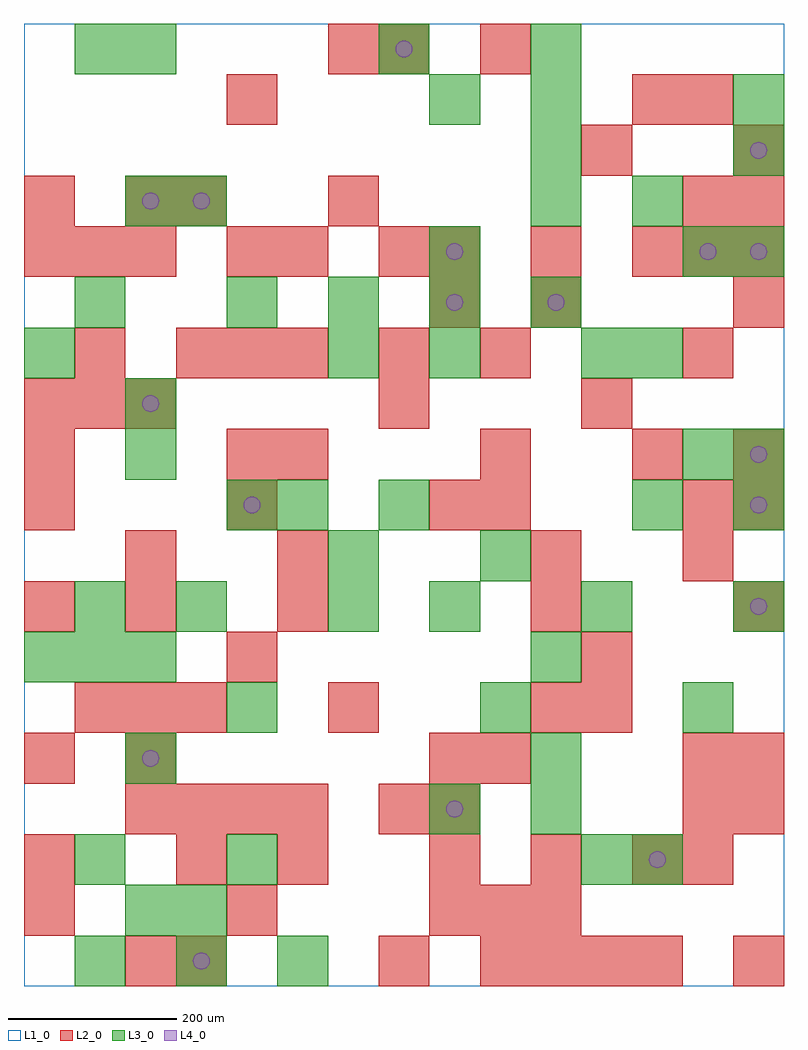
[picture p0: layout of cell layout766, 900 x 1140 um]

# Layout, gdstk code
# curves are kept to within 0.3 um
import gdstk
lib = gdstk.Library(unit=1e-6, precision=1e-09)
def R(c, l, rs):  # rectangles x0, y0, x1, y1
    for r in rs: c.add(gdstk.rectangle(r[:2], r[2:], *l))
def A(c, l, x, y, w, h, nx, ny, dx, dy):  # array of equal rectangles
    R(c, l, [(x+i*dx, y+j*dy, x+i*dx+w, y+j*dy+h) for i in range(nx) for j in range(ny)])
def P(c, l, *ps):  # polygons
    for p in ps: c.add(gdstk.Polygon(p, *l))
L1_0 = (1, 0)
L2_0 = (2, 0)
L3_0 = (3, 0)
L4_0 = (4, 0)

layout766 = lib.new_cell('layout766')
R(layout766, L1_0, [(0,0,900,1140)])
A(layout766, L2_0, 540, 0, 60, 60, 4, 1, 60, 0)
A(layout766, L2_0, 0, 60, 60, 60, 3, 2, 240, 480)
A(layout766, L2_0, 480, 120, 60, 60, 3, 2, 120, 720)
A(layout766, L2_0, 780, 120, 60, 60, 1, 3, 0, 60)
A(layout766, L2_0, 120, 180, 60, 60, 4, 1, 60, 0)
A(layout766, L2_0, 0, 240, 60, 60, 1, 3, 0, 180)
A(layout766, L2_0, 60, 300, 60, 60, 3, 1, 60, 0)
A(layout766, L2_0, 240, 360, 60, 60, 1, 3, 0, 240)
A(layout766, L2_0, 660, 360, 60, 60, 1, 3, 0, 300)
A(layout766, L2_0, 0, 660, 60, 60, 3, 2, 60, 180)
A(layout766, L2_0, 180, 720, 60, 60, 3, 1, 60, 0)
A(layout766, L2_0, 840, 780, 60, 60, 1, 4, 0, 60)
R(layout766, L2_0, [(120,0,180,60), (180,0,240,60), (420,0,480,60), (840,0,900,60), (540,60,600,120), (600,60,660,120), (0,120,60,180), (180,120,240,180), (300,120,360,180), (420,180,480,240), (480,180,540,240), (840,180,900,240), (120,240,180,300), (480,240,540,300), (540,240,600,300), (840,240,900,300), (360,300,420,360), (600,300,660,360), (660,300,720,360), (120,420,180,480), (300,420,360,480), (600,420,660,480), (840,420,900,480), (120,480,180,540), (300,480,360,540), (600,480,660,540), (780,480,840,540), (540,540,600,600), (780,540,840,600), (840,540,900,600), (300,600,360,660), (540,600,600,660), (720,600,780,660), (840,600,900,660), (420,660,480,720), (60,720,120,780), (420,720,480,780), (540,720,600,780), (780,720,840,780), (480,780,540,840), (600,780,660,840), (300,840,360,900), (420,840,480,900), (780,840,840,900), (0,900,60,960), (120,900,180,960), (180,900,240,960), (360,900,420,960), (780,900,840,960), (240,1020,300,1080), (720,1020,780,1080), (780,1020,840,1080), (360,1080,420,1140), (420,1080,480,1140), (540,1080,600,1140)])
A(layout766, L3_0, 60, 0, 60, 60, 3, 1, 120, 0)
A(layout766, L3_0, 0, 360, 60, 60, 3, 1, 60, 0)
A(layout766, L3_0, 480, 420, 60, 60, 3, 1, 180, 0)
A(layout766, L3_0, 720, 540, 60, 60, 1, 3, 0, 180)
A(layout766, L3_0, 240, 780, 60, 60, 4, 1, 120, 0)
A(layout766, L3_0, 600, 900, 60, 60, 1, 4, 0, 60)
R(layout766, L3_0, [(120,60,180,120), (180,60,240,120), (60,120,120,180), (240,120,300,180), (660,120,720,180), (720,120,780,180), (480,180,540,240), (600,180,660,240), (120,240,180,300), (600,240,660,300), (240,300,300,360), (540,300,600,360), (780,300,840,360), (600,360,660,420), (60,420,120,480), (180,420,240,480), (360,420,420,480), (360,480,420,540), (540,480,600,540), (240,540,300,600), (300,540,360,600), (420,540,480,600), (840,540,900,600), (120,600,180,660), (780,600,840,660), (840,600,900,660), (120,660,180,720), (0,720,60,780), (360,720,420,780), (480,720,540,780), (660,720,720,780), (60,780,120,840), (480,840,540,900), (780,840,840,900), (840,840,900,900), (120,900,180,960), (180,900,240,960), (840,960,900,1020), (480,1020,540,1080), (840,1020,900,1080), (60,1080,120,1140), (120,1080,180,1140), (420,1080,480,1140)])
P(layout766, L4_0, [(160,270),(159.239,273.827),(157.071,277.071),(153.827,279.239),(150,280),(146.173,279.239),(142.929,277.071),(140.761,273.827),(140,270),(140.761,266.173),(142.929,262.929),(146.173,260.761),(150,260),(153.827,260.761),(157.071,262.929),(159.239,266.173)],
  [(160,690),(159.239,693.827),(157.071,697.071),(153.827,699.239),(150,700),(146.173,699.239),(142.929,697.071),(140.761,693.827),(140,690),(140.761,686.173),(142.929,682.929),(146.173,680.761),(150,680),(153.827,680.761),(157.071,682.929),(159.239,686.173)],
  [(160,930),(159.239,933.827),(157.071,937.071),(153.827,939.239),(150,940),(146.173,939.239),(142.929,937.071),(140.761,933.827),(140,930),(140.761,926.173),(142.929,922.929),(146.173,920.761),(150,920),(153.827,920.761),(157.071,922.929),(159.239,926.173)],
  [(220,30),(219.239,33.827),(217.071,37.071),(213.827,39.239),(210,40),(206.173,39.239),(202.929,37.071),(200.761,33.827),(200,30),(200.761,26.173),(202.929,22.929),(206.173,20.761),(210,20),(213.827,20.761),(217.071,22.929),(219.239,26.173)],
  [(220,930),(219.239,933.827),(217.071,937.071),(213.827,939.239),(210,940),(206.173,939.239),(202.929,937.071),(200.761,933.827),(200,930),(200.761,926.173),(202.929,922.929),(206.173,920.761),(210,920),(213.827,920.761),(217.071,922.929),(219.239,926.173)],
  [(280,570),(279.239,573.827),(277.071,577.071),(273.827,579.239),(270,580),(266.173,579.239),(262.929,577.071),(260.761,573.827),(260,570),(260.761,566.173),(262.929,562.929),(266.173,560.761),(270,560),(273.827,560.761),(277.071,562.929),(279.239,566.173)],
  [(460,1110),(459.239,1113.827),(457.071,1117.071),(453.827,1119.239),(450,1120),(446.173,1119.239),(442.929,1117.071),(440.761,1113.827),(440,1110),(440.761,1106.173),(442.929,1102.929),(446.173,1100.761),(450,1100),(453.827,1100.761),(457.071,1102.929),(459.239,1106.173)],
  [(520,210),(519.239,213.827),(517.071,217.071),(513.827,219.239),(510,220),(506.173,219.239),(502.929,217.071),(500.761,213.827),(500,210),(500.761,206.173),(502.929,202.929),(506.173,200.761),(510,200),(513.827,200.761),(517.071,202.929),(519.239,206.173)],
  [(520,810),(519.239,813.827),(517.071,817.071),(513.827,819.239),(510,820),(506.173,819.239),(502.929,817.071),(500.761,813.827),(500,810),(500.761,806.173),(502.929,802.929),(506.173,800.761),(510,800),(513.827,800.761),(517.071,802.929),(519.239,806.173)],
  [(520,870),(519.239,873.827),(517.071,877.071),(513.827,879.239),(510,880),(506.173,879.239),(502.929,877.071),(500.761,873.827),(500,870),(500.761,866.173),(502.929,862.929),(506.173,860.761),(510,860),(513.827,860.761),(517.071,862.929),(519.239,866.173)],
  [(640,810),(639.239,813.827),(637.071,817.071),(633.827,819.239),(630,820),(626.173,819.239),(622.929,817.071),(620.761,813.827),(620,810),(620.761,806.173),(622.929,802.929),(626.173,800.761),(630,800),(633.827,800.761),(637.071,802.929),(639.239,806.173)],
  [(760,150),(759.239,153.827),(757.071,157.071),(753.827,159.239),(750,160),(746.173,159.239),(742.929,157.071),(740.761,153.827),(740,150),(740.761,146.173),(742.929,142.929),(746.173,140.761),(750,140),(753.827,140.761),(757.071,142.929),(759.239,146.173)],
  [(820,870),(819.239,873.827),(817.071,877.071),(813.827,879.239),(810,880),(806.173,879.239),(802.929,877.071),(800.761,873.827),(800,870),(800.761,866.173),(802.929,862.929),(806.173,860.761),(810,860),(813.827,860.761),(817.071,862.929),(819.239,866.173)],
  [(880,450),(879.239,453.827),(877.071,457.071),(873.827,459.239),(870,460),(866.173,459.239),(862.929,457.071),(860.761,453.827),(860,450),(860.761,446.173),(862.929,442.929),(866.173,440.761),(870,440),(873.827,440.761),(877.071,442.929),(879.239,446.173)],
  [(880,570),(879.239,573.827),(877.071,577.071),(873.827,579.239),(870,580),(866.173,579.239),(862.929,577.071),(860.761,573.827),(860,570),(860.761,566.173),(862.929,562.929),(866.173,560.761),(870,560),(873.827,560.761),(877.071,562.929),(879.239,566.173)],
  [(880,630),(879.239,633.827),(877.071,637.071),(873.827,639.239),(870,640),(866.173,639.239),(862.929,637.071),(860.761,633.827),(860,630),(860.761,626.173),(862.929,622.929),(866.173,620.761),(870,620),(873.827,620.761),(877.071,622.929),(879.239,626.173)],
  [(880,870),(879.239,873.827),(877.071,877.071),(873.827,879.239),(870,880),(866.173,879.239),(862.929,877.071),(860.761,873.827),(860,870),(860.761,866.173),(862.929,862.929),(866.173,860.761),(870,860),(873.827,860.761),(877.071,862.929),(879.239,866.173)],
  [(880,990),(879.239,993.827),(877.071,997.071),(873.827,999.239),(870,1000),(866.173,999.239),(862.929,997.071),(860.761,993.827),(860,990),(860.761,986.173),(862.929,982.929),(866.173,980.761),(870,980),(873.827,980.761),(877.071,982.929),(879.239,986.173)])

lib.write_gds('layout766.gds')
